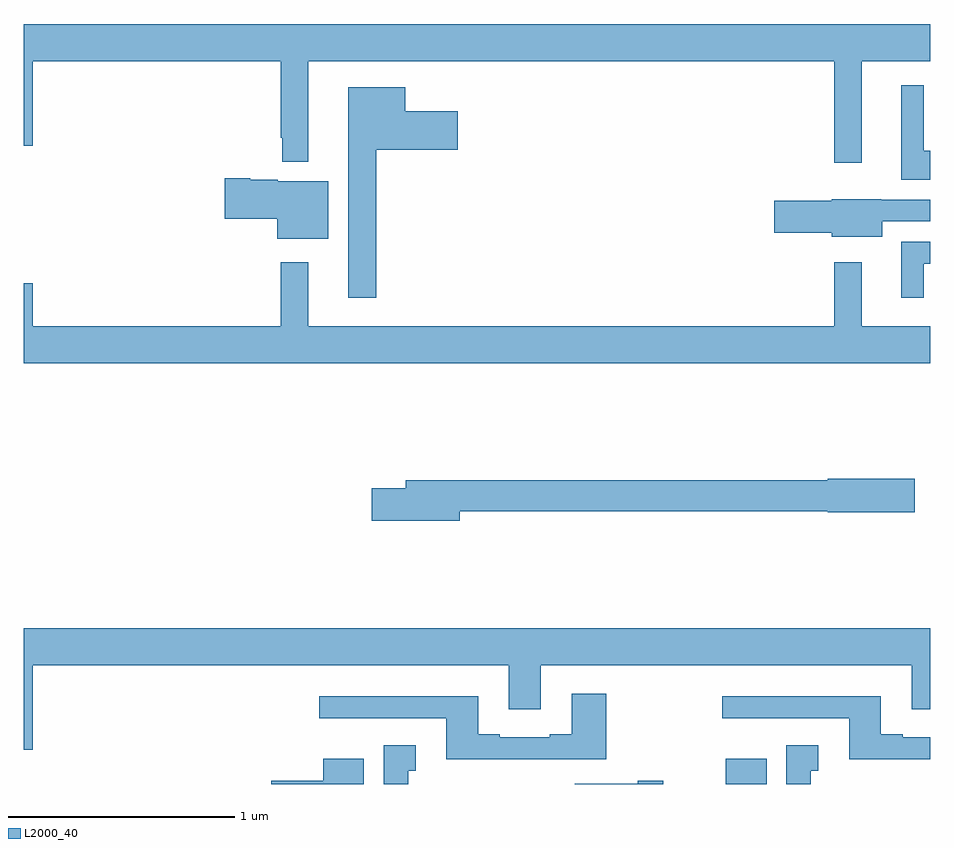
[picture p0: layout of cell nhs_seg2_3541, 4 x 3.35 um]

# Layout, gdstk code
import gdstk
lib = gdstk.Library(unit=1e-6, precision=1e-09)
def R(c, l, rs):  # rectangles x0, y0, x1, y1
    for r in rs: c.add(gdstk.rectangle(r[:2], r[2:], *l))
def P(c, l, *ps):  # polygons
    for p in ps: c.add(gdstk.Polygon(p, *l))
L2000_40 = (2000, 40)

nhs_seg2_3541 = lib.new_cell('nhs_seg2_3541')
R(nhs_seg2_3541, L2000_40, [(300.098,625.8,300.277,625.912)])
P(nhs_seg2_3541, L2000_40, [(300.697,628.988),(301,628.988),(301,629.152),(297,629.152),(297,628.614),(297.04,628.614),(297.04,628.988),(298.134,628.988),(298.134,628.651),(298.141,628.651),(298.141,628.544),(298.255,628.544),(298.255,628.988),(300.576,628.988),(300.576,628.539),(300.697,628.539)],
  [(301,628.594),(300.97,628.594),(300.97,628.882),(300.872,628.882),(300.872,628.466),(301,628.466)],
  [(298.555,628.598),(298.915,628.598),(298.915,628.768),(298.684,628.768),(298.684,628.873),(298.433,628.873),(298.433,627.945),(298.555,627.945)],
  [(298.345,628.459),(298.122,628.459),(298.122,628.465),(298,628.465),(298,628.472),(297.888,628.472),(297.888,628.294),(298.118,628.294),(298.118,628.205),(298.345,628.205)],
  [(300.787,628.281),(301,628.281),(301,628.377),(300.783,628.377),(300.783,628.378),(300.564,628.378),(300.564,628.373),(300.312,628.373),(300.312,628.231),(300.564,628.231),(300.564,628.214),(300.787,628.214)],
  [(300.97,628.095),(301,628.095),(301,628.191),(300.872,628.191),(300.872,627.945),(300.97,627.945)],
  [(301,627.82),(300.697,627.82),(300.697,628.102),(300.576,628.102),(300.576,627.82),(298.255,627.82),(298.255,628.102),(298.134,628.102),(298.134,627.82),(297.04,627.82),(297.04,628.009),(297,628.009),(297,627.656),(301,627.656)],
  [(298.924,627.004),(300.546,627.004),(300.546,626.999),(300.931,626.999),(300.931,627.146),(300.546,627.146),(300.546,627.14),(298.685,627.14),(298.685,627.104),(298.536,627.104),(298.536,626.962),(298.924,626.962)],
  [(297,625.95),(297.04,625.95),(297.04,626.324),(299.141,626.324),(299.141,626.13),(299.281,626.13),(299.281,626.324),(300.917,626.324),(300.917,626.13),(301,626.13),(301,626.488),(297,626.488)],
  [(299.57,626.197),(299.417,626.197),(299.417,626.02),(299.321,626.02),(299.321,626.007),(299.101,626.007),(299.101,626.02),(299.005,626.02),(299.005,626.188),(298.305,626.188),(298.305,626.091),(298.865,626.091),(298.865,625.91),(299.57,625.91)],
  [(301,626.007),(300.877,626.007),(300.877,626.02),(300.781,626.02),(300.781,626.188),(300.081,626.188),(300.081,626.091),(300.641,626.091),(300.641,625.91),(301,625.91)],
  [(300.472,625.859),(300.505,625.859),(300.505,625.972),(300.365,625.972),(300.365,625.8),(300.472,625.8)],
  [(298.696,625.859),(298.729,625.859),(298.729,625.972),(298.589,625.972),(298.589,625.8),(298.696,625.8)],
  [(298.501,625.912),(298.322,625.912),(298.322,625.814),(298.092,625.814),(298.092,625.8),(298.501,625.8)],
  [(299.821,625.814),(299.708,625.814),(299.708,625.801),(299.432,625.801),(299.432,625.8),(299.821,625.8)])

lib.write_gds('nhs_seg2_3541.gds')
